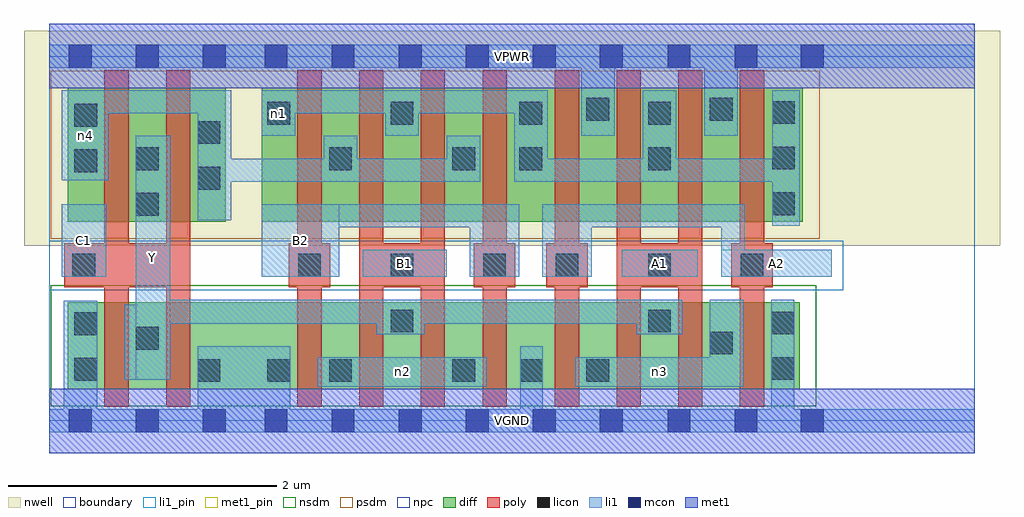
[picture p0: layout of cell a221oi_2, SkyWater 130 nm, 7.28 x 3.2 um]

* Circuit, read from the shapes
.subckt a221oi_2 A1 A2 B1 B2 C1 VGND VPWR Y n1 n2 n3 n4
XM1 Y C1 VGND VSUBS sky130_fd_pr__nfet_01v8 w=0.65 l=0.18 m=2
XM2 n2 B2 VGND VSUBS sky130_fd_pr__nfet_01v8 w=0.65 l=0.18 m=2
XM3 Y B1 n2 VSUBS sky130_fd_pr__nfet_01v8 w=0.65 l=0.18 m=2
XM4 n3 A2 VGND VSUBS sky130_fd_pr__nfet_01v8 w=0.65 l=0.18 m=2
XM5 Y A1 n3 VSUBS sky130_fd_pr__nfet_01v8 w=0.65 l=0.18 m=2
XM6 Y C1 n4 n5 sky130_fd_pr__pfet_01v8 w=1 l=0.18 m=2
XM7 n4 B2 n1 n5 sky130_fd_pr__pfet_01v8 w=1 l=0.18 m=2
XM8 n1 B1 n4 n5 sky130_fd_pr__pfet_01v8 w=1 l=0.18 m=2
XM9 VPWR A2 n1 n5 sky130_fd_pr__pfet_01v8 w=1 l=0.18 m=2
XM10 n1 A1 VPWR n5 sky130_fd_pr__pfet_01v8 w=1 l=0.18 m=2
.ends

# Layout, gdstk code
import gdstk
lib = gdstk.Library(unit=1e-6, precision=1e-09)
def R(c, l, rs):  # rectangles x0, y0, x1, y1
    for r in rs: c.add(gdstk.rectangle(r[:2], r[2:], *l))
def A(c, l, x, y, w, h, nx, ny, dx, dy):  # array of equal rectangles
    R(c, l, [(x+i*dx, y+j*dy, x+i*dx+w, y+j*dy+h) for i in range(nx) for j in range(ny)])
nwell = (64, 20)
diff = (65, 20)
poly = (66, 20)
licon = (66, 44)
li1_pin = (67, 16)
li1 = (67, 20)
mcon = (67, 44)
met1_pin = (68, 16)
met1 = (68, 20)
nsdm = (93, 44)
psdm = (94, 20)
npc = (95, 20)
boundary = (235, 4)

a221oi_2 = lib.new_cell('a221oi_2')
R(a221oi_2, nwell, [(-0.19,1.305,7.09,2.91), (0,1.305,6.9,2.91)])
R(a221oi_2, diff, [(0.135,0.235,5.595,0.885), (0.135,1.485,1.315,2.485), (1.585,1.485,5.62,2.485)])
A(a221oi_2, poly, 1.85, 0.105, 0.18, 2.51, 4, 1, 0.46, 0)
A(a221oi_2, poly, 3.77, 0.105, 0.18, 2.51, 4, 1, 0.46, 0)
R(a221oi_2, poly, [(0.41,0.105,0.59,2.615), (0.87,0.105,1.05,2.615), (0.11,0.995,1.05,1.325), (1.785,0.995,2.095,1.325), (2.31,0.995,2.95,1.325), (3.165,0.995,3.475,1.325), (3.705,0.995,4.015,1.325), (4.23,0.995,4.87,1.325), (5.085,0.995,5.395,1.325)])
A(a221oi_2, licon, 1.855, 1.075, 0.17, 0.17, 3, 1, 0.69, 0)
A(a221oi_2, licon, 3.775, 1.075, 0.17, 0.17, 3, 1, 0.69, 0)
A(a221oi_2, licon, 5.39, 1.535, 0.17, 0.17, 1, 3, 0, 0.34)
A(a221oi_2, licon, 2.545, 2.21, 0.17, 0.17, 3, 1, 0.96, 0)
R(a221oi_2, licon, [(1.105,0.29,1.275,0.46), (1.625,0.29,1.795,0.46), (2.085,0.29,2.255,0.46), (3.005,0.29,3.175,0.46), (3.51,0.29,3.68,0.46), (4.005,0.29,4.175,0.46), (0.185,0.3,0.355,0.47), (5.385,0.305,5.555,0.475), (4.925,0.495,5.095,0.665), (0.645,0.53,0.815,0.7), (0.185,0.64,0.355,0.81), (5.385,0.645,5.555,0.815), (2.545,0.66,2.715,0.83), (4.465,0.66,4.635,0.83), (0.17,1.075,0.34,1.245), (0.645,1.53,0.815,1.7), (1.105,1.725,1.275,1.895), (0.185,1.855,0.355,2.025), (0.645,1.87,0.815,2.04), (2.085,1.87,2.255,2.04), (3.005,1.87,3.175,2.04), (3.505,1.87,3.675,2.04), (4.465,1.87,4.635,2.04), (1.105,2.065,1.275,2.235), (0.185,2.195,0.355,2.365), (1.625,2.21,1.795,2.38), (4.005,2.24,4.175,2.41), (4.925,2.24,5.095,2.41)])
R(a221oi_2, li1_pin, [(0.645,0.305,0.9,2.125), (0.09,1.075,0.425,1.615), (1.585,1.075,2.16,1.615), (2.335,1.075,2.965,1.275), (4.27,1.075,4.835,1.275), (5.01,1.075,5.835,1.275)])
R(a221oi_2, li1, [(0,-0.085,6.9,0.085), (0.105,-0.085,0.355,0.895), (1.105,-0.085,1.795,0.555), (3.51,-0.085,3.68,0.555), (5.385,-0.085,5.555,0.905), (2,0.255,3.26,0.475), (3.92,0.255,5.18,0.475), (4.925,0.255,5.18,0.905), (0.56,0.305,0.9,0.865), (0.645,0.305,0.9,2.125), (2.44,0.645,2.8,0.905), (4.38,0.645,4.72,0.905), (0.645,0.725,4.72,0.905), (0.09,1.075,0.425,1.615), (1.585,1.075,2.16,1.615), (2.335,1.075,2.965,1.275), (3.135,1.075,3.505,1.615), (3.675,1.075,4.045,1.615), (4.27,1.075,4.835,1.275), (5.01,1.075,5.835,1.275), (5.01,1.075,5.185,1.615), (1.585,1.445,3.505,1.615), (3.675,1.445,5.185,1.615), (5.39,1.455,5.595,2.465), (1.105,1.495,1.355,2.465), (1.105,1.785,3.215,1.955), (2.045,1.785,2.295,2.125), (2.965,1.785,3.215,2.125), (3.465,1.785,5.595,1.955), (3.465,1.785,3.715,2.465), (4.425,1.785,4.675,2.465), (0.09,1.795,0.44,2.465), (1.585,2.125,1.835,2.465), (2.505,2.125,2.755,2.465), (3.965,2.125,4.215,2.805), (4.885,2.125,5.135,2.805), (0.09,2.295,1.355,2.465), (1.585,2.295,3.715,2.465), (0,2.635,6.9,2.805)])
A(a221oi_2, mcon, 0.145, -0.085, 0.17, 0.17, 3, 2, 0.5, 2.72)
A(a221oi_2, mcon, 1.605, -0.085, 0.17, 0.17, 6, 2, 0.5, 2.72)
R(a221oi_2, mcon, [(4.61,-0.085,4.78,0.085), (5.11,-0.085,5.28,0.085), (5.605,-0.085,5.775,0.085), (4.61,2.635,4.78,2.805), (5.11,2.635,5.28,2.805), (5.605,2.635,5.775,2.805)])
R(a221oi_2, met1_pin, [(0,-0.24,6.9,0.24), (0,2.48,6.9,2.96)])
R(a221oi_2, met1, [(0,-0.24,6.9,0.24), (0,2.48,6.9,2.96)])
R(a221oi_2, nsdm, [(0.01,0.11,5.72,1.01)])
R(a221oi_2, psdm, [(0.01,1.36,5.745,2.61)])
R(a221oi_2, npc, [(0,0.975,5.92,1.345)])
R(a221oi_2, boundary, [(0,0,6.9,2.72)])
a221oi_2.add(gdstk.Label('A1', (4.552,1.175), layer=67, texttype=5))
a221oi_2.add(gdstk.Label('A2', (5.422,1.175), layer=67, texttype=5))
a221oi_2.add(gdstk.Label('B1', (2.65,1.175), layer=67, texttype=5))
a221oi_2.add(gdstk.Label('B2', (1.872,1.345), layer=67, texttype=5))
a221oi_2.add(gdstk.Label('C1', (0.257,1.345), layer=67, texttype=5))
a221oi_2.add(gdstk.Label('Y', (0.772,1.215), layer=67, texttype=5))
a221oi_2.add(gdstk.Label('n2', (2.63,0.365), layer=67, texttype=5))
a221oi_2.add(gdstk.Label('n3', (4.55,0.365), layer=67, texttype=5))
a221oi_2.add(gdstk.Label('n4', (0.265,2.13), layer=67, texttype=5))
a221oi_2.add(gdstk.Label('n1', (1.71,2.295), layer=67, texttype=5))
a221oi_2.add(gdstk.Label('VPWR', (3.45,2.72), layer=68, texttype=5))
a221oi_2.add(gdstk.Label('VGND', (3.45,0), layer=68, texttype=5))
a221oi_2.add(gdstk.Label('A1', (4.552,1.175), layer=67, texttype=16))
a221oi_2.add(gdstk.Label('A2', (5.422,1.175), layer=67, texttype=16))
a221oi_2.add(gdstk.Label('B1', (2.65,1.175), layer=67, texttype=16))
a221oi_2.add(gdstk.Label('B2', (1.872,1.345), layer=67, texttype=16))
a221oi_2.add(gdstk.Label('C1', (0.257,1.345), layer=67, texttype=16))
a221oi_2.add(gdstk.Label('Y', (0.772,1.215), layer=67, texttype=16))
a221oi_2.add(gdstk.Label('VPWR', (3.45,2.72), layer=68, texttype=16))
a221oi_2.add(gdstk.Label('VGND', (3.45,0), layer=68, texttype=16))

lib.write_gds('a221oi_2.gds')
